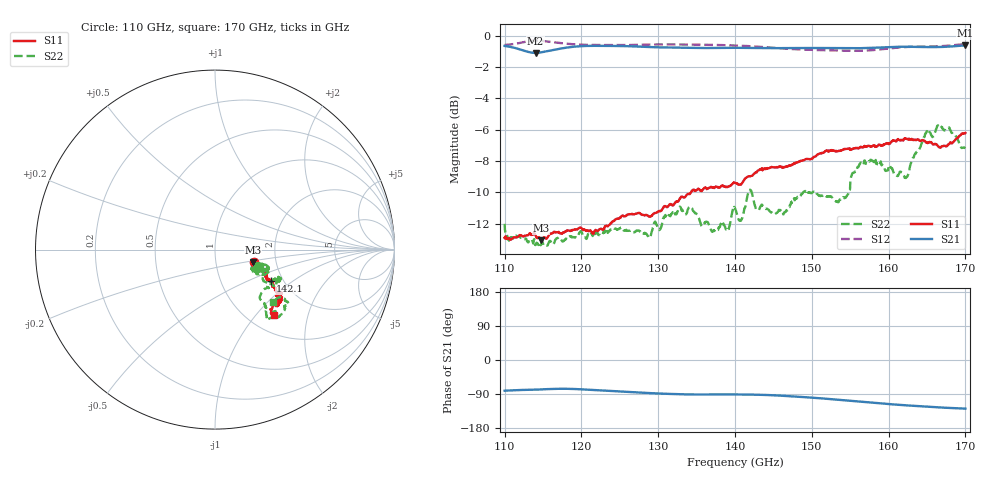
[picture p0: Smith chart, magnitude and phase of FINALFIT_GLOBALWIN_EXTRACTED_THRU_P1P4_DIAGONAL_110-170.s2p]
! Generated by Phase I extraction
# Hz S RI R 50
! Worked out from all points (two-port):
!   1471 points, 110 GHz to 170 GHz, reference 50 ohm
!   highest |S21| = -0.62 dB at 170 GHz (marker M1); lowest = -1.1 dB at 114 GHz (marker M2)
!   |S21| within 3 dB of the highest: start of sweep to end of sweep
!   lowest |S11| = -13.0 dB at 114.7 GHz (marker M3), VSWR 1.57, Z = 75.7 - j11.4 ohm
!   |S11| at or under -10 dB: start of sweep to 134.3 GHz
!   |S22| runs from -13.4 to -5.7 dB; largest |S21 - S12| = 0.92
!   S11 on the Smith chart (normalised r, x): 110 GHz: 1.53, -0.22; 142.1 GHz: 1.72, -0.70; 170 GHz: 1.30, -1.24
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1.1e11  0.2163 -0.0685  0.1455 -0.9158  0.556 -0.7504  0.2335 -0.0926
1.140408e11  0.2192 -0.0726  0.1773 -0.8632  0.5119 -0.8185  0.2068 -0.0599
1.147347e11  0.211 -0.0717  0.189 -0.8643  0.4958 -0.8263  0.2035 -0.0702
1.2e11  0.2274 -0.0881  0.2018 -0.9038  0.4144 -0.8391  0.2181 -0.0942
1.3e11  0.255 -0.1037  0.0261 -0.9176  0.3484 -0.8705  0.2155 -0.1089
1.341633e11  0.2821 -0.1372  -0.0148 -0.9145  0.3073 -0.885  0.2674 -0.0989
1.357143e11  0.2827 -0.1512  -0.0175 -0.9132  0.2874 -0.8906  0.2335 -0.0786
1.389796e11  0.2872 -0.1603  -0.0129 -0.9144  0.241 -0.9005  0.2185 -0.097
1.4e11  0.2955 -0.1666  -0.0143 -0.9146  0.2294 -0.9017  0.2592 -0.1104
1.407755e11  0.292 -0.1633  -0.0163 -0.9144  0.222 -0.9019  0.2256 -0.123
1.421224e11  0.3098 -0.177  -0.0215 -0.9136  0.2118 -0.9006  0.3004 -0.1072
1.428571e11  0.3197 -0.1814  -0.0258 -0.913  0.2076 -0.8991  0.2642 -0.0879
1.451429e11  0.3218 -0.2021  -0.0514 -0.9111  0.2025 -0.8914  0.2575 -0.0866
1.5e11  0.3375 -0.2249  -0.1486 -0.9014  0.2239 -0.8727  0.2951 -0.1105
1.534286e11  0.3435 -0.2565  -0.2344 -0.8814  0.2629 -0.8573  0.266 -0.1258
1.562449e11  0.368 -0.24  -0.3083 -0.8585  0.2963 -0.8445  0.3337 -0.2023
1.6e11  0.3445 -0.2928  -0.4071 -0.8248  0.3327 -0.8472  0.3434 -0.165
1.623673e11  0.3472 -0.3143  -0.4571 -0.8005  0.3441 -0.8537  0.2599 -0.2411
1.648163e11  0.3652 -0.2777  -0.5004 -0.7719  0.345 -0.8561  0.3037 -0.3834
1.663673e11  0.3465 -0.2808  -0.5262 -0.7544  0.342 -0.8591  0.354 -0.3764
1.679184e11  0.3203 -0.3193  -0.5493 -0.7418  0.3383 -0.866  0.4102 -0.3004
1.7e11  0.3265 -0.3646  -0.5774 -0.7309  0.3329 -0.8797  0.3234 -0.2941
